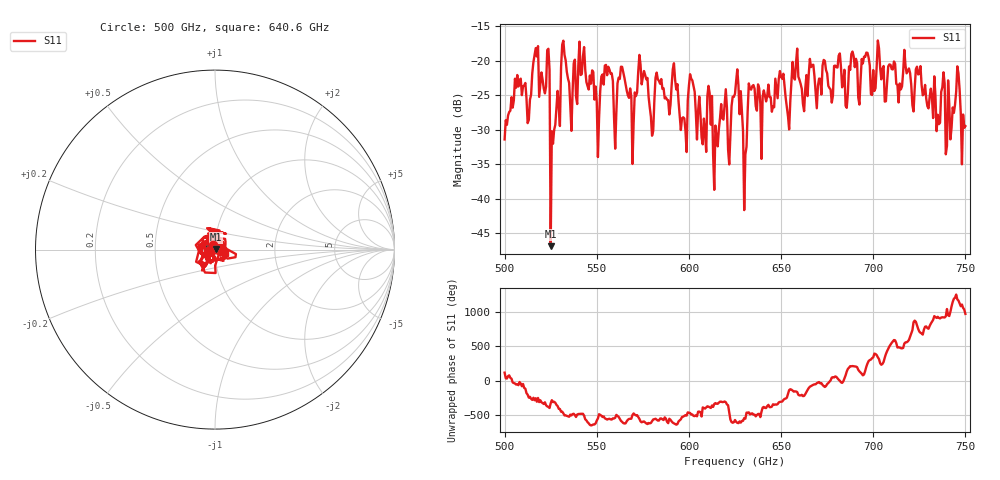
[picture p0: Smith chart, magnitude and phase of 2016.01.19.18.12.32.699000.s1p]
!Created with skrf (http://scikit-rf.org).
# GHz S RI R 50.0
!freq ReS11 ImS11
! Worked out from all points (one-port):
!   401 points, 500 GHz to 750 GHz, reference 50 ohm
!   lowest |S11| = -46.9 dB at 525 GHz (marker M1), VSWR 1.01, Z = 50.4 + j0.244 ohm
!   |S11| at or under -10 dB: start of sweep to end of sweep
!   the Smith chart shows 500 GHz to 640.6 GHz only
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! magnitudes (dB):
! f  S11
! 500 GHz  -31.4
! 506.9 GHz  -22.1
! 513.1 GHz  -28.6
! 516.9 GHz  -18.2
! 523.1 GHz  -18.5
! 525 GHz  -46.9
! 526.2 GHz  -32.1
! 531.2 GHz  -17.7
! 535.6 GHz  -26.5
! 541.9 GHz  -22.0
! 550 GHz  -26.0
! 562.5 GHz  -22.7
! 568.8 GHz  -25.2
! 573.8 GHz  -20.6
! 579.4 GHz  -28.1
! 593.8 GHz  -23.4
! 597.5 GHz  -28.4
! 601.9 GHz  -22.9
! 608.1 GHz  -28.4
! 611.2 GHz  -24.7
! 614.4 GHz  -29.4
! 625 GHz  -24.8
! 630 GHz  -41.7
! 633.8 GHz  -24.2
! 656.2 GHz  -20.2
! 687.5 GHz  -21.4
! 718.8 GHz  -21.5
! 750 GHz  -29.5
